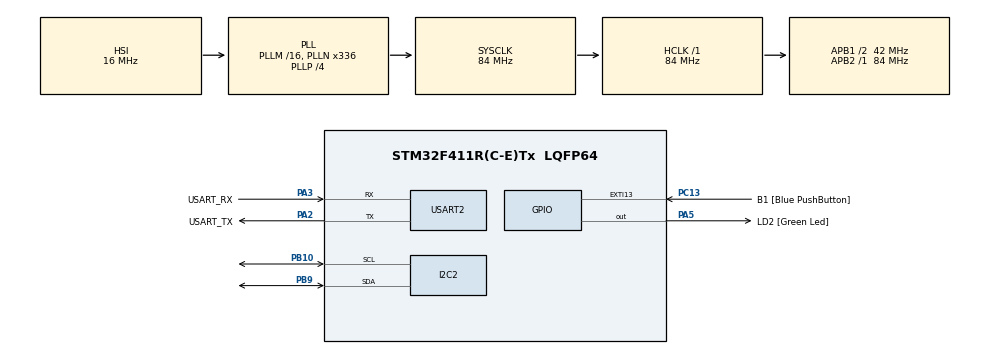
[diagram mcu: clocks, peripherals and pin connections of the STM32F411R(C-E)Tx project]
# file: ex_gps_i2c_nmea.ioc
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Dma.I2C2_RX.0.Direction=DMA_PERIPH_TO_MEMORY
Dma.I2C2_RX.0.FIFOMode=DMA_FIFOMODE_DISABLE
Dma.I2C2_RX.0.Instance=DMA1_Stream2
Dma.I2C2_RX.0.MemDataAlignment=DMA_MDATAALIGN_BYTE
Dma.I2C2_RX.0.MemInc=DMA_MINC_ENABLE
Dma.I2C2_RX.0.Mode=DMA_NORMAL
Dma.I2C2_RX.0.PeriphDataAlignment=DMA_PDATAALIGN_BYTE
Dma.I2C2_RX.0.PeriphInc=DMA_PINC_DISABLE
Dma.I2C2_RX.0.Priority=DMA_PRIORITY_LOW
Dma.I2C2_TX.1.Direction=DMA_MEMORY_TO_PERIPH
Dma.I2C2_TX.1.FIFOMode=DMA_FIFOMODE_DISABLE
Dma.I2C2_TX.1.Instance=DMA1_Stream7
Dma.I2C2_TX.1.MemDataAlignment=DMA_MDATAALIGN_BYTE
Dma.I2C2_TX.1.MemInc=DMA_MINC_ENABLE
Dma.I2C2_TX.1.Mode=DMA_NORMAL
Dma.I2C2_TX.1.PeriphDataAlignment=DMA_PDATAALIGN_BYTE
Dma.I2C2_TX.1.PeriphInc=DMA_PINC_DISABLE
Dma.I2C2_TX.1.Priority=DMA_PRIORITY_LOW
Dma.Request0=I2C2_RX
Dma.Request1=I2C2_TX
I2C2.I2C_Mode=I2C_Standard
Mcu.Family=STM32F4
Mcu.Name=STM32F411R(C-E)Tx
Mcu.Package=LQFP64
NVIC.DMA1_Stream2_IRQn=true\:0\:0\:false\:false\:true\:false\:true\:true
NVIC.DMA1_Stream7_IRQn=true\:0\:0\:false\:false\:true\:false\:true\:true
NVIC.I2C2_ER_IRQn=true\:0\:0\:false\:false\:true\:true\:true\:true
NVIC.I2C2_EV_IRQn=true\:0\:0\:false\:false\:true\:true\:true\:true
NVIC.PriorityGroup=NVIC_PRIORITYGROUP_0
NVIC.TIM2_IRQn=true\:0\:0\:false\:false\:true\:true\:true\:true
NVIC.USART2_IRQn=true\:0\:0\:false\:false\:true\:true\:true\:true
PA13.GPIO_Label=TMS
PA13.Mode=Serial_Wire
PA13.Signal=SYS_JTMS-SWDIO
PA14.GPIO_Label=TCK
PA14.Mode=Serial_Wire
PA14.Signal=SYS_JTCK-SWCLK
PA2.GPIO_Label=USART_TX
PA2.Mode=Asynchronous
PA2.Signal=USART2_TX
PA3.GPIO_Label=USART_RX
PA3.Mode=Asynchronous
PA3.Signal=USART2_RX
PA5.GPIO_Label=LD2 [Green Led]
PA5.Signal=GPIO_Output
PB10.Mode=I2C
PB10.Signal=I2C2_SCL
PB3.GPIO_Label=SWO
PB3.Signal=SYS_JTDO-SWO
PB9.Mode=I2C
PB9.Signal=I2C2_SDA
PC13-ANTI_TAMP.GPIO_Label=B1 [Blue PushButton]
PC13-ANTI_TAMP.GPIO_ModeDefaultEXTI=GPIO_MODE_IT_FALLING
PC13-ANTI_TAMP.Signal=GPXTI13
PC14-OSC32_IN.Mode=LSE-External-Oscillator
PC14-OSC32_IN.Signal=RCC_OSC32_IN
PC15-OSC32_OUT.Mode=LSE-External-Oscillator
PC15-OSC32_OUT.Signal=RCC_OSC32_OUT
PH0\ -\ OSC_IN.Mode=HSE-External-Clock-Source
PH0\ -\ OSC_IN.Signal=RCC_OSC_IN
PH1\ -\ OSC_OUT.Mode=HSE-External-Clock-Source
PH1\ -\ OSC_OUT.Signal=RCC_OSC_OUT
ProjectManager.HeapSize=0x200
ProjectManager.StackSize=0x400
ProjectManager.TargetToolchain=STM32CubeIDE
RCC.48MHZClocksFreq_Value=84000000
RCC.AHBFreq_Value=84000000
RCC.APB1CLKDivider=RCC_HCLK_DIV2
RCC.APB1Freq_Value=42000000
RCC.APB1TimFreq_Value=84000000
RCC.APB2Freq_Value=84000000
RCC.APB2TimFreq_Value=84000000
RCC.CortexFreq_Value=84000000
RCC.FLatency-AdvancedSettings=FLASH_LATENCY_2
RCC.HCLKFreq_Value=84000000
RCC.HSE_VALUE=8000000
RCC.HSI_VALUE=16000000
RCC.PLLN=336
RCC.PLLP=RCC_PLLP_DIV4
RCC.SYSCLKFreq_VALUE=84000000
RCC.SYSCLKSource=RCC_SYSCLKSOURCE_PLLCLK
RCC.VCOOutputFreq_Value=336000000
TIM2.Prescaler=84-1
USART2.VirtualMode=VM_ASYNC
VP_TIM2_VS_ClockSourceINT.Mode=Internal
board=NUCLEO-F411RE

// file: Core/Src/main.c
/* USER CODE BEGIN Header */
/**
  ******************************************************************************
  * @file           : main.c
  * @brief          : Main program body
  ******************************************************************************
  * @attention
  *
  * Copyright (c) 2023 STMicroelectronics.
  * All rights reserved.
  *
  * This software is licensed under terms that can be found in the LICENSE file
  * in the root directory of this software component.
  * If no LICENSE file comes with this software, it is provided AS-IS.
  *
  ******************************************************************************
  */
/* USER CODE END Header */
#include "main.h"

/* USER CODE BEGIN Includes */
#include "linker.h"

/* USER CODE END Includes */

/* USER CODE BEGIN PD */
#define TASK_SIZE		6
#define TIMER_1MS_SIZE	1

/* USER CODE END PD */

I2C_HandleTypeDef hi2c2;
DMA_HandleTypeDef hdma_i2c2_rx;
DMA_HandleTypeDef hdma_i2c2_tx;

TIM_HandleTypeDef htim2;

UART_HandleTypeDef huart2;

/* USER CODE BEGIN PV */
static PifUart s_uart_log;

static uint8_t s_log_rx;
static uint16_t s_log_tx;

/* USER CODE END PV */

void SystemClock_Config(void);
static void MX_GPIO_Init(void);
static void MX_DMA_Init(void);
static void MX_USART2_UART_Init(void);
static void MX_I2C2_Init(void);
static void MX_TIM2_Init(void);

/* USER CODE BEGIN 0 */
static uint32_t micros()
{
    return htim2.Instance->CNT;
}

static void actLedLState(PifId pif_id, uint32_t new_state)
{
	static uint32_t state;

	(void)pif_id;

	HAL_GPIO_WritePin(LD2_GPIO_Port, LD2_Pin, new_state & 1);
	if (new_state != state) {
		if (g_print_data) pifLog_Printf(LT_INFO, "LED State=%u", new_state);
		state = new_state;
	}
}

static BOOL actLogStartTransfer(PifUart* p_uart)
{
	uint8_t *p_data, state;

	state = pifUart_StartGetTxData(p_uart, &p_data, &s_log_tx);
	if (state & PIF_UART_SEND_DATA_STATE_DATA) {
		HAL_UART_Transmit_IT(&huart2, p_data, s_log_tx);
		return TRUE;
	}
	return FALSE;
}

void HAL_UART_TxCpltCallback(UART_HandleTypeDef *huart)
{
	uint8_t *p_data, state;

	if (huart->Instance == USART2) {
		state = pifUart_EndGetTxData(&s_uart_log, s_log_tx);
		if (!(state & PIF_UART_SEND_DATA_STATE_EMPTY)) {
			s_log_tx = 0;
			state = pifUart_StartGetTxData(&s_uart_log, &p_data, &s_log_tx);
			if (state & PIF_UART_SEND_DATA_STATE_DATA) {
				HAL_UART_Transmit_IT(huart, p_data, s_log_tx);
			}
		}
	}
}

void HAL_UART_RxCpltCallback(UART_HandleTypeDef *huart)
{
	if (huart->Instance == USART2) {
		pifUart_PutRxByte(&s_uart_log, s_log_rx);
		HAL_UART_Receive_IT(huart, &s_log_rx, 1);
	}
}

static PifI2cReturn actI2cRead(PifI2cDevice *p_owner, uint32_t iaddr, uint8_t isize, uint8_t* p_data, size_t size)
{
	if (isize) {
		return (HAL_I2C_Mem_Read(&hi2c2, (p_owner->addr << 1) | 1, iaddr, isize, p_data, size, 1000) == HAL_OK) ? IR_COMPLETE : IR_ERROR;
	}
	else {
		return (HAL_I2C_Master_Receive(&hi2c2, (p_owner->addr << 1) | 1, p_data, size, 1000) == HAL_OK) ? IR_COMPLETE : IR_ERROR;
	}
}

static PifI2cReturn actI2cWrite(PifI2cDevice *p_owner, uint32_t iaddr, uint8_t isize, uint8_t* p_data, size_t size)
{
	if (isize) {
		return (HAL_I2C_Mem_Write(&hi2c2, p_owner->addr << 1, iaddr, isize, p_data, size, 1000) == HAL_OK) ? IR_COMPLETE : IR_ERROR;
	}
	else {
		return (HAL_I2C_Master_Transmit(&hi2c2, p_owner->addr << 1, p_data, size, 1000) == HAL_OK) ? IR_COMPLETE : IR_ERROR;
	}
}

/* USER CODE END 0 */

int main(void)
{

  /* MCU Configuration--------------------------------------------------------*/

  /* Reset of all peripherals, Initializes the Flash interface and the Systick. */
  HAL_Init();

  /* Configure the system clock */
  SystemClock_Config();

  /* Initialize all configured peripherals */
  MX_GPIO_Init();
  MX_DMA_Init();
  MX_USART2_UART_Init();
  MX_I2C2_Init();
  MX_TIM2_Init();
  /* USER CODE BEGIN 2 */
  HAL_TIM_IC_Start_IT(&htim2, TIM_CHANNEL_1);

  pif_Init(micros);

  if (!pifTaskManager_Init(TASK_SIZE, 1)) return -1;

  if (!pifTimerManager_Init(&g_timer_1ms, PIF_ID_AUTO, 1000, TIMER_1MS_SIZE)) return -1;			// 1000us

  if (!pifUart_Init(&s_uart_log, PIF_ID_AUTO, huart2.Init.BaudRate)) return -1;
  if (!pifUart_AttachTxTask(&s_uart_log, PIF_ID_AUTO, TM_EXTERNAL, 0, "UartTxLog")) return -1;
  if (!pifUart_AttachRxTask(&s_uart_log, PIF_ID_AUTO, TM_PERIOD, 200000, "UartRxLog")) return -1;	// 200ms
  if (!pifUart_AllocRxBuffer(&s_uart_log, 64)) return -1;											// 64bytes
  if (!pifUart_AllocTxBuffer(&s_uart_log, 128)) return -1;											// 128bytes
  s_uart_log.act_start_transfer = actLogStartTransfer;

  HAL_UART_Receive_IT(&huart2, &s_log_rx, 1);

  pifLog_Init();
  if (!pifLog_AttachUart(&s_uart_log, 256)) return -1;												// 256bytes

  if (!pifLed_Init(&g_led_l, PIF_ID_AUTO, 2, actLedLState)) return -1;

  if (!pifI2cPort_Init(&g_i2c_port, PIF_ID_AUTO, 1)) return -1;
  g_i2c_port.act_read = actI2cRead;
  g_i2c_port.act_write = actI2cWrite;

  if (!appSetup()) return -1;

	pifLog_Print(LT_NONE, "\n\n****************************************\n");
	pifLog_Print(LT_NONE, "***          ex_gps_i2c_nmea         ***\n");
	pifLog_Printf(LT_NONE, "***       %s %s       ***\n", __DATE__, __TIME__);
	pifLog_Print(LT_NONE, "****************************************\n");
  pifLog_Printf(LT_INFO, "Task=%d/%d Timer=%d/%d\n", pifTaskManager_Count(), TASK_SIZE, pifTimerManager_Count(&g_timer_1ms), TIMER_1MS_SIZE);

  /* USER CODE END 2 */

  /* Infinite loop */
  /* USER CODE BEGIN WHILE */
  while (1)
  {
	pifTaskManager_Loop();
    /* USER CODE END WHILE */

  }
}

void SystemClock_Config(void)
{
  RCC_OscInitTypeDef RCC_OscInitStruct = {0};
  RCC_ClkInitTypeDef RCC_ClkInitStruct = {0};

  /** Configure the main internal regulator output voltage
  */
  __HAL_RCC_PWR_CLK_ENABLE();
  __HAL_PWR_VOLTAGESCALING_CONFIG(PWR_REGULATOR_VOLTAGE_SCALE1);

  /** Initializes the RCC Oscillators according to the specified parameters
  * in the RCC_OscInitTypeDef structure.
  */
  RCC_OscInitStruct.OscillatorType = RCC_OSCILLATORTYPE_HSI;
  RCC_OscInitStruct.HSIState = RCC_HSI_ON;
  RCC_OscInitStruct.HSICalibrationValue = RCC_HSICALIBRATION_DEFAULT;
  RCC_OscInitStruct.PLL.PLLState = RCC_PLL_ON;
  RCC_OscInitStruct.PLL.PLLSource = RCC_PLLSOURCE_HSI;
  RCC_OscInitStruct.PLL.PLLM = 16;
  RCC_OscInitStruct.PLL.PLLN = 336;
  RCC_OscInitStruct.PLL.PLLP = RCC_PLLP_DIV4;
  RCC_OscInitStruct.PLL.PLLQ = 4;
  if (HAL_RCC_OscConfig(&RCC_OscInitStruct) != HAL_OK)
  {
    Error_Handler();
  }

  /** Initializes the CPU, AHB and APB buses clocks
  */
  RCC_ClkInitStruct.ClockType = RCC_CLOCKTYPE_HCLK|RCC_CLOCKTYPE_SYSCLK
                              |RCC_CLOCKTYPE_PCLK1|RCC_CLOCKTYPE_PCLK2;
  RCC_ClkInitStruct.SYSCLKSource = RCC_SYSCLKSOURCE_PLLCLK;
  RCC_ClkInitStruct.AHBCLKDivider = RCC_SYSCLK_DIV1;
  RCC_ClkInitStruct.APB1CLKDivider = RCC_HCLK_DIV2;
  RCC_ClkInitStruct.APB2CLKDivider = RCC_HCLK_DIV1;

  if (HAL_RCC_ClockConfig(&RCC_ClkInitStruct, FLASH_LATENCY_2) != HAL_OK)
  {
    Error_Handler();
  }
}

static void MX_I2C2_Init(void)
{

  hi2c2.Instance = I2C2;
  hi2c2.Init.ClockSpeed = 100000;
  hi2c2.Init.DutyCycle = I2C_DUTYCYCLE_2;
  hi2c2.Init.OwnAddress1 = 0;
  hi2c2.Init.AddressingMode = I2C_ADDRESSINGMODE_7BIT;
  hi2c2.Init.DualAddressMode = I2C_DUALADDRESS_DISABLE;
  hi2c2.Init.OwnAddress2 = 0;
  hi2c2.Init.GeneralCallMode = I2C_GENERALCALL_DISABLE;
  hi2c2.Init.NoStretchMode = I2C_NOSTRETCH_DISABLE;
  if (HAL_I2C_Init(&hi2c2) != HAL_OK)
  {
    Error_Handler();
  }

}

static void MX_TIM2_Init(void)
{

  TIM_ClockConfigTypeDef sClockSourceConfig = {0};
  TIM_MasterConfigTypeDef sMasterConfig = {0};

  htim2.Instance = TIM2;
  htim2.Init.Prescaler = 84-1;
  htim2.Init.CounterMode = TIM_COUNTERMODE_UP;
  htim2.Init.Period = 4294967295;
  htim2.Init.ClockDivision = TIM_CLOCKDIVISION_DIV1;
  htim2.Init.AutoReloadPreload = TIM_AUTORELOAD_PRELOAD_DISABLE;
  if (HAL_TIM_Base_Init(&htim2) != HAL_OK)
  {
    Error_Handler();
  }
  sClockSourceConfig.ClockSource = TIM_CLOCKSOURCE_INTERNAL;
  if (HAL_TIM_ConfigClockSource(&htim2, &sClockSourceConfig) != HAL_OK)
  {
    Error_Handler();
  }
  sMasterConfig.MasterOutputTrigger = TIM_TRGO_RESET;
  sMasterConfig.MasterSlaveMode = TIM_MASTERSLAVEMODE_DISABLE;
  if (HAL_TIMEx_MasterConfigSynchronization(&htim2, &sMasterConfig) != HAL_OK)
  {
    Error_Handler();
  }

}

static void MX_USART2_UART_Init(void)
{

  huart2.Instance = USART2;
  huart2.Init.BaudRate = 115200;
  huart2.Init.WordLength = UART_WORDLENGTH_8B;
  huart2.Init.StopBits = UART_STOPBITS_1;
  huart2.Init.Parity = UART_PARITY_NONE;
  huart2.Init.Mode = UART_MODE_TX_RX;
  huart2.Init.HwFlowCtl = UART_HWCONTROL_NONE;
  huart2.Init.OverSampling = UART_OVERSAMPLING_16;
  if (HAL_UART_Init(&huart2) != HAL_OK)
  {
    Error_Handler();
  }

}

static void MX_DMA_Init(void)
{

  /* DMA controller clock enable */
  __HAL_RCC_DMA1_CLK_ENABLE();

  /* DMA interrupt init */
  /* DMA1_Stream2_IRQn interrupt configuration */
  HAL_NVIC_SetPriority(DMA1_Stream2_IRQn, 0, 0);
  HAL_NVIC_EnableIRQ(DMA1_Stream2_IRQn);
  /* DMA1_Stream7_IRQn interrupt configuration */
  HAL_NVIC_SetPriority(DMA1_Stream7_IRQn, 0, 0);
  HAL_NVIC_EnableIRQ(DMA1_Stream7_IRQn);

}

static void MX_GPIO_Init(void)
{
  GPIO_InitTypeDef GPIO_InitStruct = {0};

  /* GPIO Ports Clock Enable */
  __HAL_RCC_GPIOC_CLK_ENABLE();
  __HAL_RCC_GPIOH_CLK_ENABLE();
  __HAL_RCC_GPIOA_CLK_ENABLE();
  __HAL_RCC_GPIOB_CLK_ENABLE();

  /*Configure GPIO pin Output Level */
  HAL_GPIO_WritePin(LD2_GPIO_Port, LD2_Pin, GPIO_PIN_RESET);

  /*Configure GPIO pin : B1_Pin */
  GPIO_InitStruct.Pin = B1_Pin;
  GPIO_InitStruct.Mode = GPIO_MODE_IT_FALLING;
  GPIO_InitStruct.Pull = GPIO_NOPULL;
  HAL_GPIO_Init(B1_GPIO_Port, &GPIO_InitStruct);

  /*Configure GPIO pin : LD2_Pin */
  GPIO_InitStruct.Pin = LD2_Pin;
  GPIO_InitStruct.Mode = GPIO_MODE_OUTPUT_PP;
  GPIO_InitStruct.Pull = GPIO_NOPULL;
  GPIO_InitStruct.Speed = GPIO_SPEED_FREQ_LOW;
  HAL_GPIO_Init(LD2_GPIO_Port, &GPIO_InitStruct);

}

void Error_Handler(void)
{
  __disable_irq();
  while (1)
  {
  }
}
